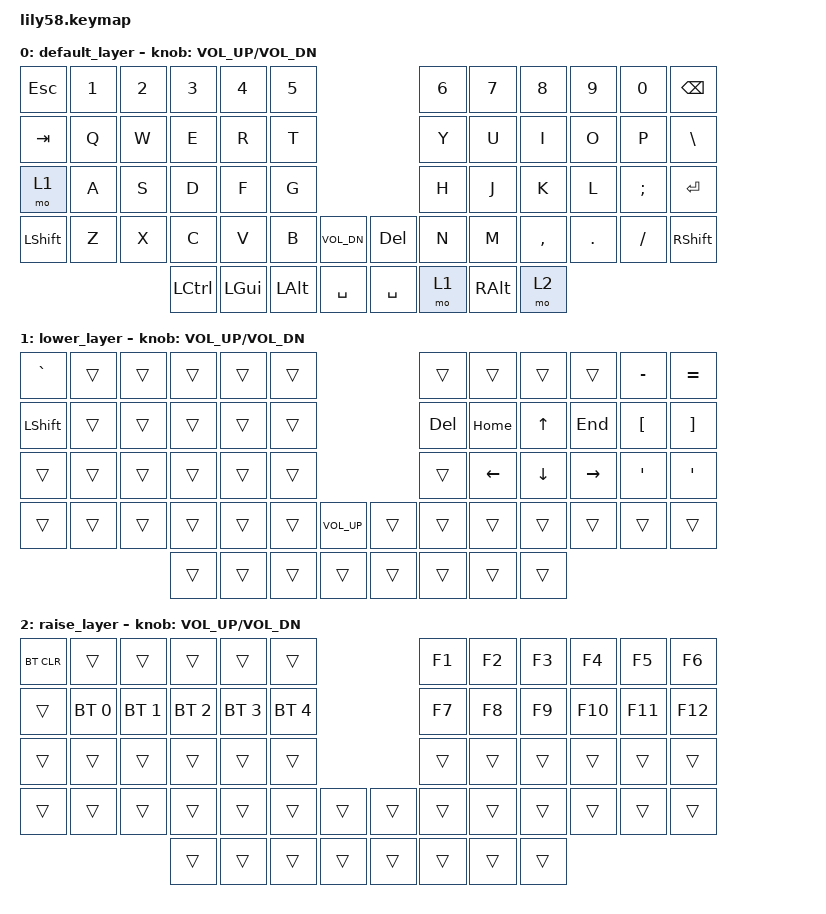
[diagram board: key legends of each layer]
/*
 * Copyright (c) 2020 The ZMK Contributors
 *
 * SPDX-License-Identifier: MIT
 */

#include <behaviors.dtsi>
#include <dt-bindings/zmk/keys.h>
#include <dt-bindings/zmk/bt.h>
#include <dt-bindings/zmk/ext_power.h>

/ {
	keymap {
		compatible = "zmk,keymap";

		default_layer {
// ------------------------------------------------------------------------------------------------------------
// |  ESC  |  1  |  2  |  3   |  4   |  5   |                   |  6   |  7    |  8    |  9   |   0   | BSPC  |
// |  TAB  |  Q  |  W  |  E   |  R   |  T   |                   |  Y   |  U    |  I    |  O   |   P   | BSLH  |
// | LOWER |  A  |  S  |  D   |  F   |  G   |                   |  H   |  J    |  K    |  L   |   ;   | ENTER |
// | SHIFT |  Z  |  X  |  C   |  V   |  B   |  VOLDN |  | DEL   |  N   |  M    |  ,    |  .   |   /   | SHIFT |
//                     | LCTRL|  GUI |  ALT |  SPACE |  | SPACE | LOWER|  ALT  | RAISE |
			bindings = <
&kp ESC   &kp N1 &kp N2 &kp N3    &kp N4   &kp N5                          &kp N6 &kp N7   &kp N8    &kp N9  &kp N0   &kp BSPC
&kp TAB   &kp Q  &kp W  &kp E     &kp R    &kp T                           &kp Y  &kp U    &kp I     &kp O   &kp P    &kp BACKSLASH
&mo 1     &kp A  &kp S  &kp D     &kp F    &kp G                           &kp H  &kp J    &kp K     &kp L   &kp SEMI &kp RET
&kp LSHFT &kp Z  &kp X  &kp C     &kp V    &kp B    &kp C_VOL_DN &kp DEL   &kp N  &kp M    &kp COMMA &kp DOT &kp FSLH &kp RSHFT
                        &kp LCTRL &kp LGUI &kp LALT &kp SPACE    &kp SPACE &mo 1  &kp RALT &mo 2
			>;

			sensor-bindings = <&inc_dec_kp C_VOL_UP C_VOL_DN>;
		};

		lower_layer {
// ------------------------------------------------------------------------------------------------------------
// |   `   |       |     |      |      |      |                   |      |       |       |       |   -   |   =   |
// | SHIFT |       |     |      |      |      |                   |  DEL |  HOME |   ^   |  END  |  "["  |  "]"  |
// |       |       |     |      |      |      |        |  |       |      |  <-   |   v   |   ->  |   '   |   '   |
//                       |      |      |      | VOLDN  |  |       |      |       |       |
			bindings = <
&kp GRAVE &trans &trans &trans &trans &trans               &trans  &trans   &trans   &trans    &kp MINUS &kp EQUAL 
&kp LSHFT &trans &trans &trans &trans &trans               &kp DEL &kp HOME &kp UP   &kp END   &kp LBKT  &kp RBKT
&trans    &trans &trans &trans &trans &trans               &trans  &kp LEFT &kp DOWN &kp RIGHT &kp APOS  &kp APOS
&trans    &trans &trans &trans &trans &trans &kp C_VOL_UP &trans &trans  &trans   &trans   &trans    &trans    &trans
                               &trans &trans &trans &trans &trans  &trans   &trans   &trans
			>;

			sensor-bindings = <&inc_dec_kp C_VOL_UP C_VOL_DN>;
		};

		raise_layer {
// ------------------------------------------------------------------------------------------------------------
// | BTCLR |      |     |      |      |      |                   |  F1  |       |       |      |       |       |
// |       | BT1  | BT2 |  BT3 |  BT4 |  BT5 |                   |      |       |       |      |       |       |
// |       |      |     |      |      |      |                   |      |       |       |      |       |       |
// |       |      |     |      |      |      |        |  |       |      |       |       |      |       |       |
//                      |      |      |      |        |  |       |      |       |       |
			bindings = <
&bt BT_CLR &trans       &trans       &trans       &trans       &trans                     &kp F1 &kp F2 &kp F3 &kp F4  &kp F5  &kp F6
&trans     &bt BT_SEL 0 &bt BT_SEL 1 &bt BT_SEL 2 &bt BT_SEL 3 &bt BT_SEL 4               &kp F7 &kp F8 &kp F9 &kp F10 &kp F11 &kp F12
&trans     &trans       &trans       &trans       &trans       &trans                     &trans &trans &trans &trans  &trans  &trans
&trans     &trans       &trans       &trans       &trans       &trans       &trans &trans &trans &trans &trans &trans  &trans  &trans
                        &trans       &trans       &trans       &trans       &trans &trans &trans &trans
			>;

			sensor-bindings = <&inc_dec_kp C_VOL_UP C_VOL_DN>;
		};
	};
};
